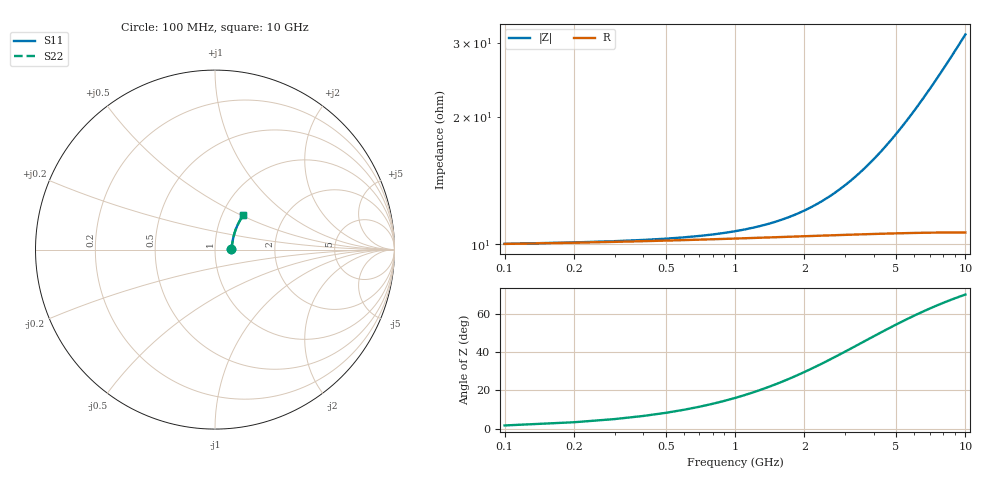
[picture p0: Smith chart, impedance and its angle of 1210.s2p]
# Hz S RI R 50.00
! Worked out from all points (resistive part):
!   100 points, 100 MHz to 10 GHz, reference 50 ohm
!   read as one part in series: R = 10 ohm at 100 MHz
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1e8  0.091 0.00211  0.909 -0.0028  0.909 -0.0028  0.091 0.00211
2e8  0.0915 0.00421  0.9085 -0.00558  0.9085 -0.00558  0.0915 0.00421
7e8  0.0932 0.0147  0.9067 -0.0195  0.9067 -0.0195  0.0932 0.0147
1e9  0.0941 0.0209  0.9059 -0.0278  0.9059 -0.0278  0.0941 0.0209
1.2e9  0.0946 0.0251  0.9053 -0.0333  0.9053 -0.0333  0.0946 0.0251
1.4e9  0.0952 0.0292  0.9047 -0.0389  0.9047 -0.0389  0.0952 0.0292
1.8e9  0.0965 0.0375  0.9034 -0.0499  0.9034 -0.0499  0.0965 0.0375
2.1e9  0.0975 0.0437  0.9024 -0.0581  0.9024 -0.0581  0.0975 0.0437
2.5e9  0.0989 0.0519  0.9009 -0.0691  0.9009 -0.0691  0.0989 0.0519
2.9e9  0.1006 0.06  0.8992 -0.08  0.8992 -0.08  0.1006 0.06
3.4e9  0.1029 0.0701  0.8968 -0.0936  0.8968 -0.0936  0.1029 0.0701
4.4e9  0.1082 0.0901  0.8913 -0.1204  0.8913 -0.1204  0.1082 0.0901
5.1e9  0.1126 0.1038  0.8867 -0.1389  0.8867 -0.1389  0.1126 0.1038
5.9e9  0.1183 0.1192  0.8808 -0.1598  0.8808 -0.1598  0.1183 0.1192
6.3e9  0.1214 0.1267  0.8776 -0.1701  0.8776 -0.1701  0.1214 0.1267
6.7e9  0.1246 0.1341  0.8742 -0.1803  0.8742 -0.1803  0.1246 0.1341
7.1e9  0.1281 0.1415  0.8706 -0.1904  0.8706 -0.1904  0.1281 0.1415
7.5e9  0.1316 0.1487  0.8669 -0.2005  0.8669 -0.2005  0.1316 0.1487
7.9e9  0.1354 0.1559  0.863 -0.2104  0.863 -0.2104  0.1354 0.1559
8.4e9  0.1403 0.1646  0.8579 -0.2226  0.8579 -0.2226  0.1403 0.1646
9.2e9  0.1486 0.1783  0.8493 -0.2417  0.8493 -0.2417  0.1486 0.1783
1e10  0.1574 0.1914  0.84 -0.2604  0.84 -0.2604  0.1574 0.1914
